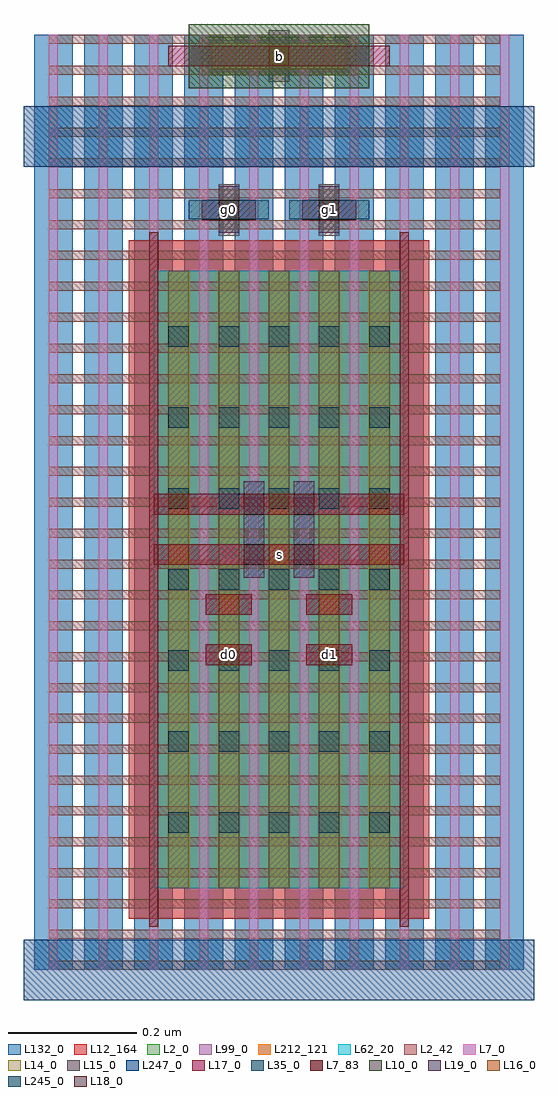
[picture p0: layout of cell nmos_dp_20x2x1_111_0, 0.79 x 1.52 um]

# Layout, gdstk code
import gdstk
lib = gdstk.Library(unit=1e-6, precision=1e-12)
def R(c, l, rs):  # rectangles x0, y0, x1, y1
    for r in rs: c.add(gdstk.rectangle(r[:2], r[2:], *l))
def A(c, l, x, y, w, h, nx, ny, dx, dy):  # array of equal rectangles
    R(c, l, [(x+i*dx, y+j*dy, x+i*dx+w, y+j*dy+h) for i in range(nx) for j in range(ny)])
L2_0 = (2, 0)
L2_42 = (2, 42)
L7_0 = (7, 0)
L7_83 = (7, 83)
L10_0 = (10, 0)
L12_164 = (12, 164)
L14_0 = (14, 0)
L15_0 = (15, 0)
L16_0 = (16, 0)
L17_0 = (17, 0)
L18_0 = (18, 0)
L19_0 = (19, 0)
L35_0 = (35, 0)
L62_20 = (62, 20)
L99_0 = (99, 0)
L132_0 = (132, 0)
L212_121 = (212, 121)
L245_0 = (245, 0)
L247_0 = (247, 0)

nmos_dp_20x2x1_111_0 = lib.new_cell('nmos_dp_20x2x1_111_0')
R(nmos_dp_20x2x1_111_0, L2_0, [(0.186,0.127,0.576,1.087), (0.2606,1.391,0.5014,1.451)])
A(nmos_dp_20x2x1_111_0, L2_42, 0.023, 0, 0.702, 0.014, 1, 31, 0, 0.048)
A(nmos_dp_20x2x1_111_0, L7_0, 0.023, 0, 0.014, 1.454, 10, 1, 0.078, 0)
R(nmos_dp_20x2x1_111_0, L7_83, [(0.179,0.067,0.193,1.147), (0.569,0.067,0.583,1.147)])
R(nmos_dp_20x2x1_111_0, L10_0, [(0.2406,1.371,0.5214,1.471)])
R(nmos_dp_20x2x1_111_0, L12_164, [(0.147,0.079,0.615,1.135)])
A(nmos_dp_20x2x1_111_0, L14_0, 0.208, 0.127, 0.034, 0.96, 5, 1, 0.078, 0)
R(nmos_dp_20x2x1_111_0, L14_0, [(0.2756,1.401,0.4864,1.441)])
A(nmos_dp_20x2x1_111_0, L15_0, 0.209, 0.127, 0.032, 0.96, 5, 1, 0.078, 0)
R(nmos_dp_20x2x1_111_0, L15_0, [(0.287,1.142,0.319,1.222), (0.443,1.142,0.475,1.222), (0.365,1.381,0.397,1.461)])
A(nmos_dp_20x2x1_111_0, L16_0, 0.209, 0.63, 0.032, 0.032, 3, 2, 0.156, 0.078)
R(nmos_dp_20x2x1_111_0, L16_0, [(0.287,0.474,0.319,0.506), (0.443,0.474,0.475,0.506), (0.287,0.552,0.319,0.584), (0.443,0.552,0.475,0.584), (0.287,1.166,0.319,1.198), (0.443,1.166,0.475,1.198), (0.365,1.405,0.397,1.437)])
R(nmos_dp_20x2x1_111_0, L17_0, [(0.267,0.474,0.339,0.506), (0.423,0.474,0.495,0.506), (0.267,0.552,0.339,0.584), (0.423,0.552,0.495,0.584), (0.186,0.63,0.576,0.662), (0.186,0.708,0.576,0.74), (0.261,1.166,0.345,1.198), (0.417,1.166,0.501,1.198), (0.209,1.405,0.553,1.437)])
R(nmos_dp_20x2x1_111_0, L18_0, [(0.326,0.63,0.358,0.662), (0.404,0.63,0.436,0.662), (0.326,0.708,0.358,0.74), (0.404,0.708,0.436,0.74), (0.287,1.166,0.319,1.198), (0.443,1.166,0.475,1.198)])
R(nmos_dp_20x2x1_111_0, L19_0, [(0.326,0.61,0.358,0.76), (0.404,0.61,0.436,0.76), (0.287,1.146,0.319,1.219), (0.443,1.146,0.475,1.219)])
A(nmos_dp_20x2x1_111_0, L35_0, 0.209, 0.213, 0.032, 0.032, 5, 7, 0.078, 0.126)
R(nmos_dp_20x2x1_111_0, L35_0, [(0.287,1.166,0.319,1.198), (0.443,1.166,0.475,1.198), (0.365,1.405,0.397,1.437)])
R(nmos_dp_20x2x1_111_0, L62_20, [(0.186,0.127,0.576,1.087)])
R(nmos_dp_20x2x1_111_0, L99_0, [(0.186,0.127,0.576,1.087), (0.2706,1.396,0.4914,1.446)])
A(nmos_dp_20x2x1_111_0, L132_0, 0, 0, 0.06, 1.454, 10, 1, 0.078, 0)
R(nmos_dp_20x2x1_111_0, L212_121, [(0.186,0.127,0.576,1.087)])
R(nmos_dp_20x2x1_111_0, L245_0, [(0.241,1.167,0.365,1.197), (0.397,1.167,0.521,1.197)])
R(nmos_dp_20x2x1_111_0, L247_0, [(-0.016,-0.047,0.778,0.047), (-0.016,1.249,0.778,1.343)])
nmos_dp_20x2x1_111_0.add(gdstk.Label('s', (0.381,0.646), layer=16, texttype=20))
nmos_dp_20x2x1_111_0.add(gdstk.Label('d1', (0.459,0.49), layer=16, texttype=20))
nmos_dp_20x2x1_111_0.add(gdstk.Label('d0', (0.303,0.49), layer=16, texttype=20))
nmos_dp_20x2x1_111_0.add(gdstk.Label('g0', (0.303,1.1825), layer=16, texttype=20))
nmos_dp_20x2x1_111_0.add(gdstk.Label('g1', (0.459,1.1825), layer=16, texttype=20))
nmos_dp_20x2x1_111_0.add(gdstk.Label('b', (0.381,1.421), layer=16, texttype=20))

lib.write_gds('nmos_dp_20x2x1_111_0.gds')
